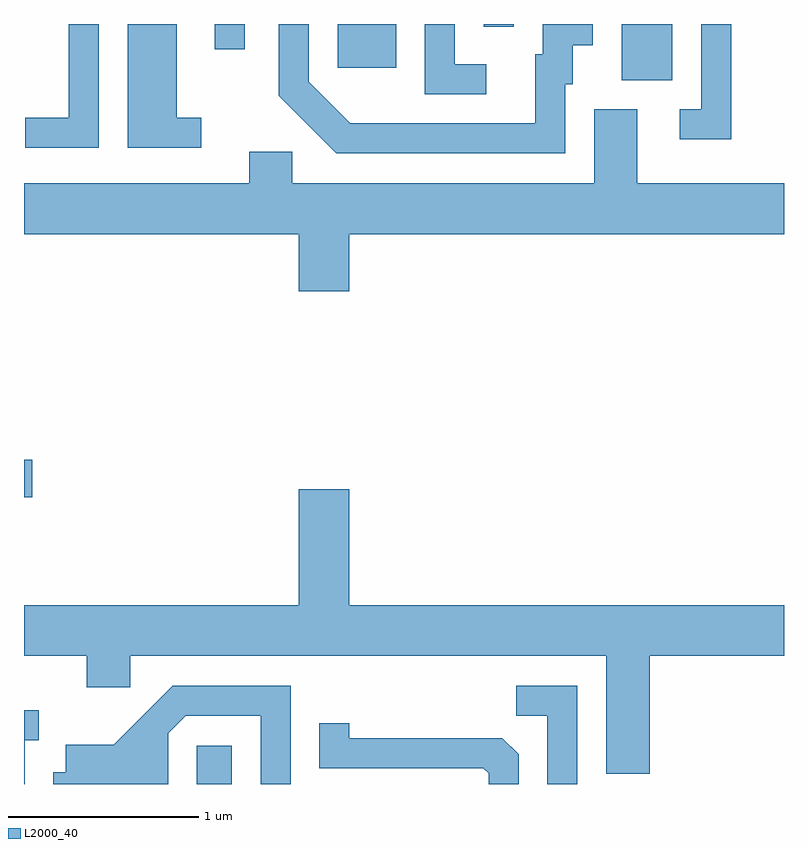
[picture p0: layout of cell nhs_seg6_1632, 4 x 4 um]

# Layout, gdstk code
import gdstk
lib = gdstk.Library(unit=1e-6, precision=1e-09)
def R(c, l, rs):  # rectangles x0, y0, x1, y1
    for r in rs: c.add(gdstk.rectangle(r[:2], r[2:], *l))
def P(c, l, *ps):  # polygons
    for p in ps: c.add(gdstk.Polygon(p, *l))
L2000_40 = (2000, 40)

nhs_seg6_1632 = lib.new_cell('nhs_seg6_1632')
R(nhs_seg6_1632, L2000_40, [(234.521,1638.162,234.704,1638.364), (233.611,1639.671,233.654,1639.869), (236.756,1641.866,237.024,1642.162), (235.261,1641.931,235.569,1642.162), (234.616,1642.028,234.774,1642.162), (236.031,1642.148,236.189,1642.162)])
P(nhs_seg6_1632, L2000_40, [(234.004,1642.162),(233.846,1642.162),(233.846,1641.669),(233.618,1641.669),(233.618,1641.511),(234.004,1641.511)],
  [(236.459,1641.846),(236.499,1641.846),(236.499,1642.051),(236.604,1642.051),(236.604,1642.162),(236.341,1642.162),(236.341,1642.004),(236.301,1642.004),(236.301,1641.639),(235.327,1641.639),(235.109,1641.857),(235.109,1642.162),(234.951,1642.162),(234.951,1641.784),(235.254,1641.481),(236.459,1641.481)],
  [(236.043,1641.949),(235.879,1641.949),(235.879,1642.162),(235.721,1642.162),(235.721,1641.791),(236.043,1641.791)],
  [(237.334,1642.162),(237.176,1642.162),(237.176,1641.714),(237.063,1641.714),(237.063,1641.556),(237.334,1641.556)],
  [(234.543,1641.669),(234.414,1641.669),(234.414,1642.162),(234.156,1642.162),(234.156,1641.511),(234.543,1641.511)],
  [(237.611,1641.324),(236.839,1641.324),(236.839,1641.714),(236.611,1641.714),(236.611,1641.324),(235.024,1641.324),(235.024,1641.489),(234.796,1641.489),(234.796,1641.324),(233.611,1641.324),(233.611,1641.056),(235.056,1641.056),(235.056,1640.756),(235.324,1640.756),(235.324,1641.056),(237.611,1641.056)],
  [(236.904,1638.836),(237.611,1638.836),(237.611,1639.104),(235.324,1639.104),(235.324,1639.714),(235.056,1639.714),(235.056,1639.104),(233.611,1639.104),(233.611,1638.836),(233.941,1638.836),(233.941,1638.671),(234.169,1638.671),(234.169,1638.836),(236.676,1638.836),(236.676,1638.216),(236.904,1638.216)],
  [(234.369,1638.429),(234.462,1638.521),(234.856,1638.521),(234.856,1638.162),(235.014,1638.162),(235.014,1638.679),(234.394,1638.679),(234.084,1638.369),(233.831,1638.369),(233.831,1638.224),(233.766,1638.224),(233.766,1638.162),(234.369,1638.162)],
  [(236.524,1638.679),(236.203,1638.679),(236.203,1638.521),(236.366,1638.521),(236.366,1638.162),(236.524,1638.162)],
  [(233.614,1638.391),(233.688,1638.391),(233.688,1638.549),(233.611,1638.549),(233.611,1638.162),(233.614,1638.162)],
  [(236.214,1638.319),(236.129,1638.404),(235.324,1638.404),(235.324,1638.483),(235.166,1638.483),(235.166,1638.246),(236.029,1638.246),(236.056,1638.219),(236.056,1638.162),(236.214,1638.162)])

lib.write_gds('nhs_seg6_1632.gds')
